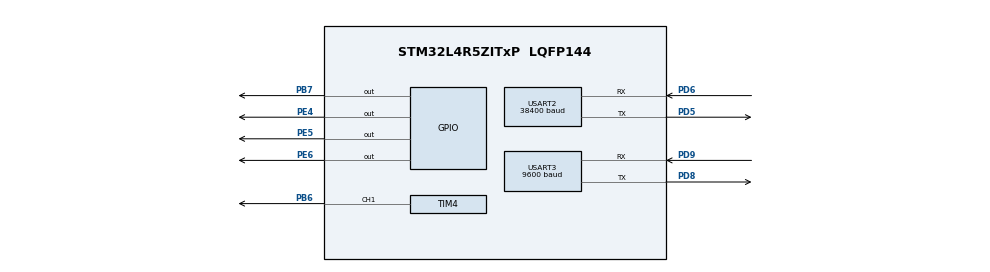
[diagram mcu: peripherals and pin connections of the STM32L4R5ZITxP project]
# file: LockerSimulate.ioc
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Mcu.Family=STM32L4
Mcu.Name=STM32L4R5ZITxP
Mcu.Package=LQFP144
NVIC.PriorityGroup=NVIC_PRIORITYGROUP_4
PA0.Signal=S_TIM2_CH1
PA1.Signal=ADCx_IN6
PA10.Signal=USB_OTG_FS_ID
PA13\ (JTMS/SWDIO).Signal=SYS_JTMS-SWDIO
PA14\ (JTCK/SWCLK).Signal=SYS_JTCK-SWCLK
PA3.Signal=ADCx_IN8
PA4.Signal=SPI1_NSS
PA5.Signal=SPI1_SCK
PA6.Signal=SPI1_MISO
PA7.Signal=SPI1_MOSI
PA8.Signal=USB_OTG_FS_SOF
PA9.Signal=USB_OTG_FS_VBUS
PB0.Signal=S_TIM3_CH3
PB1.Signal=ADCx_IN16
PB10.Signal=S_TIM2_CH3
PB12.Signal=SAI2_FS_A
PB13.Signal=SAI2_SCK_A
PB14.Signal=S_TIM15_CH1
PB15.Signal=SAI2_SD_A
PB2.Signal=COMP1_INP
PB3\ (JTDO/TRACESWO).Signal=SPI3_SCK
PB4\ (NJTRST).Signal=SPI3_MISO
PB5.Signal=SPI3_MOSI
PB6.Signal=S_TIM4_CH1
PB7.Signal=GPIO_Output
PB8.Signal=I2C1_SCL
PB9.Signal=I2C1_SDA
PC0.Signal=ADCx_IN1
PC1.Signal=ADCx_IN2
PC10.Signal=SDMMC1_D2
PC11.Signal=SDMMC1_D3
PC12.Signal=SDMMC1_CK
PC13.Signal=SYS_WKUP2
PC14-OSC32_IN\ (PC14).Signal=RCC_OSC32_IN
PC15-OSC32_OUT\ (PC15).Signal=RCC_OSC32_OUT
PC2.Signal=ADCx_IN3
PC3.Signal=ADCx_IN4
PC4.Signal=ADCx_IN13
PC5.Signal=ADCx_IN14
PC6.Signal=SAI2_MCLK_A
PC7.Signal=S_TIM3_CH2
PC8.Signal=SDMMC1_D0
PC9.Signal=SDMMC1_D1
PD0.Signal=CAN1_RX
PD14.Signal=S_TIM4_CH3
PD15.Signal=S_TIM4_CH4
PD2.Signal=SDMMC1_CMD
PD3.Signal=USART2_CTS
PD4.Signal=USART2_RTS
PD5.Mode=Asynchronous
PD5.Signal=USART2_TX
PD6.Mode=Asynchronous
PD6.Signal=USART2_RX
PD8.Mode=Asynchronous
PD8.Signal=USART3_TX
PD9.Mode=Asynchronous
PD9.Signal=USART3_RX
PE0.Signal=S_TIM4_ETR
PE10.Signal=TIM1_CH2N
PE11.Signal=S_TIM1_CH2
PE12.Signal=TIM1_CH3N
PE13.Signal=S_TIM1_CH3
PE14.Signal=TIM1_BKIN2
PE15.Signal=TIM1_BKIN
PE2.Signal=SAI1_MCLK_A
PE3.Signal=SAI1_SD_B
PE4.Signal=GPIO_Output
PE5.Signal=GPIO_Output
PE6.Signal=GPIO_Output
PE7.Signal=S_TIM1_ETR
PE8.Signal=TIM1_CH1N
PE9.Signal=S_TIM1_CH1
PF0.Signal=I2C2_SDA
PF1.Signal=I2C2_SCL
PF2.Signal=I2C2_SMBA
PF7.Signal=SAI1_MCLK_B
PG7.Signal=LPUART1_TX
PG8.Signal=LPUART1_RX
PH0-OSC_IN\ (PH0).Signal=RCC_OSC_IN
PH1-OSC_OUT\ (PH1).Signal=RCC_OSC_OUT
ProjectManager.HeapSize=0x200
ProjectManager.StackSize=0x400
ProjectManager.TargetToolchain=STM32CubeIDE
RCC.HSE_VALUE=8000000
RCC.HSI48_VALUE=48000000
RCC.HSI_VALUE=16000000
RCC.LSE_VALUE=32768
RCC.MSI_VALUE=4000000
RCC.VCOOutputFreq_Value=32000000
SH.ADCx_IN1.0=ADC1_IN1
SH.ADCx_IN13.0=ADC1_IN13
SH.ADCx_IN14.0=ADC1_IN14
SH.ADCx_IN16.0=ADC1_IN16
SH.ADCx_IN2.0=ADC1_IN2
SH.ADCx_IN3.0=ADC1_IN3
SH.ADCx_IN4.0=ADC1_IN4
SH.ADCx_IN6.0=ADC1_IN6
SH.ADCx_IN8.0=ADC1_IN8
SH.S_TIM15_CH1.0=TIM15_CH1
SH.S_TIM1_CH1.0=TIM1_CH1
SH.S_TIM1_CH2.0=TIM1_CH2
SH.S_TIM1_CH3.0=TIM1_CH3
SH.S_TIM1_ETR.0=TIM1_ETR
SH.S_TIM2_CH1.0=TIM2_CH1
SH.S_TIM2_CH3.0=TIM2_CH3
SH.S_TIM3_CH2.0=TIM3_CH2
SH.S_TIM3_CH3.0=TIM3_CH3
SH.S_TIM4_CH1.0=TIM4_CH1,PWM Generation1 CH1
SH.S_TIM4_CH3.0=TIM4_CH3
SH.S_TIM4_CH4.0=TIM4_CH4
SH.S_TIM4_ETR.0=TIM4_ETR
TIM4.Channel-PWM\ Generation1\ CH1=TIM_CHANNEL_1
TIM4.Period=250
TIM4.Prescaler=3
USART2.BaudRate=38400
USART2.VirtualMode-Asynchronous=VM_ASYNC
USART3.BaudRate=9600
USART3.VirtualMode-Asynchronous=VM_ASYNC
VP_TIM4_VS_ClockSourceINT.Mode=Internal
board=NUCLEO-L4R5ZI-P

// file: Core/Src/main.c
/* USER CODE BEGIN Header */
/**
  ******************************************************************************
  * @file           : main.c
  * @brief          : Main program body
  ******************************************************************************
  * @attention
  *
  * Copyright (c) 2024 STMicroelectronics.
  * All rights reserved.
  *
  * This software is licensed under terms that can be found in the LICENSE file
  * in the root directory of this software component.
  * If no LICENSE file comes with this software, it is provided AS-IS.
  *
  ******************************************************************************
  */
/* USER CODE END Header */
#include "main.h"

/* USER CODE BEGIN Includes */
#include "lockerUART.h"
/* USER CODE END Includes */

TIM_HandleTypeDef htim4;

UART_HandleTypeDef huart2;
UART_HandleTypeDef huart3;

void SystemClock_Config(void);
static void MX_GPIO_Init(void);
static void MX_USART3_UART_Init(void);
static void MX_TIM4_Init(void);
static void MX_USART2_UART_Init(void);

int main(void)
{

  /* MCU Configuration--------------------------------------------------------*/

  /* Reset of all peripherals, Initializes the Flash interface and the Systick. */
  HAL_Init();

  /* Configure the system clock */
  SystemClock_Config();

  /* Initialize all configured peripherals */
  MX_GPIO_Init();
  MX_USART3_UART_Init();
  MX_TIM4_Init();
  MX_USART2_UART_Init();
  /* USER CODE BEGIN 2 */
  uint8_t data_buff[1] = {0};
  uint8_t state = 0; // 0 = LED OFF, 1 = LED ON
  HAL_TIM_PWM_Start(&htim4, TIM_CHANNEL_1);
  /* USER CODE END 2 */

  /* Infinite loop */
  /* USER CODE BEGIN WHILE */
  while (1)
  {
	  HAL_StatusTypeDef receiveStatus = HAL_UART_Receive(&huart3, data_buff, 1, 10000);
	  if(receiveStatus == HAL_OK) {
		  uint8_t message = data_buff[0];
		  if(message == 1){ // Opening
			  if(state == 1) continue;
			  state = 1;
			  HAL_GPIO_WritePin(GPIOE, GPIO_PIN_4, 1); // MOFSET for solenoid ON
			  HAL_GPIO_WritePin(GPIOE, GPIO_PIN_5, 1); // H-Bridge for extend ON
			  HAL_Delay(2450);
			  HAL_GPIO_WritePin(GPIOE, GPIO_PIN_4, 0); // MOFSET for solenoid OFF
			  HAL_GPIO_WritePin(GPIOE, GPIO_PIN_5, 0); // H-Bridge for extend OFF
		  } else if( (message & 0x03) == 0x03) {
			  ping_stream_response(&huart3, &huart2, message);
		  } else if(message > 3) {
			  data_buff[0] = message - 4;
			  HAL_UART_Transmit(&huart2, data_buff, 1, 1000);
		  }
		  if(message == 0){ // Closing
			  if(state == 0) continue;
			  state = 0;
			  HAL_GPIO_WritePin(GPIOE, GPIO_PIN_6, 1); // H-Bridge for retract ON
			  HAL_GPIO_WritePin(GPIOE, GPIO_PIN_4, 1);
			  HAL_Delay(3350);
			  HAL_GPIO_WritePin(GPIOE, GPIO_PIN_6, 0); // H-Bridge for retract ON
			  HAL_GPIO_WritePin(GPIOE, GPIO_PIN_4, 0);
		  }
		  HAL_GPIO_WritePin(GPIOB, GPIO_PIN_7, state); // LED
	  }
    /* USER CODE END WHILE */

  }
}

void SystemClock_Config(void)
{
  RCC_OscInitTypeDef RCC_OscInitStruct = {0};
  RCC_ClkInitTypeDef RCC_ClkInitStruct = {0};

  /** Configure the main internal regulator output voltage
  */
  if (HAL_PWREx_ControlVoltageScaling(PWR_REGULATOR_VOLTAGE_SCALE1) != HAL_OK)
  {
    Error_Handler();
  }

  /** Initializes the RCC Oscillators according to the specified parameters
  * in the RCC_OscInitTypeDef structure.
  */
  RCC_OscInitStruct.OscillatorType = RCC_OSCILLATORTYPE_MSI;
  RCC_OscInitStruct.MSIState = RCC_MSI_ON;
  RCC_OscInitStruct.MSICalibrationValue = 0;
  RCC_OscInitStruct.MSIClockRange = RCC_MSIRANGE_6;
  RCC_OscInitStruct.PLL.PLLState = RCC_PLL_NONE;
  if (HAL_RCC_OscConfig(&RCC_OscInitStruct) != HAL_OK)
  {
    Error_Handler();
  }

  /** Initializes the CPU, AHB and APB buses clocks
  */
  RCC_ClkInitStruct.ClockType = RCC_CLOCKTYPE_HCLK|RCC_CLOCKTYPE_SYSCLK
                              |RCC_CLOCKTYPE_PCLK1|RCC_CLOCKTYPE_PCLK2;
  RCC_ClkInitStruct.SYSCLKSource = RCC_SYSCLKSOURCE_MSI;
  RCC_ClkInitStruct.AHBCLKDivider = RCC_SYSCLK_DIV1;
  RCC_ClkInitStruct.APB1CLKDivider = RCC_HCLK_DIV1;
  RCC_ClkInitStruct.APB2CLKDivider = RCC_HCLK_DIV1;

  if (HAL_RCC_ClockConfig(&RCC_ClkInitStruct, FLASH_LATENCY_0) != HAL_OK)
  {
    Error_Handler();
  }
}

static void MX_TIM4_Init(void)
{

  TIM_ClockConfigTypeDef sClockSourceConfig = {0};
  TIM_MasterConfigTypeDef sMasterConfig = {0};
  TIM_OC_InitTypeDef sConfigOC = {0};

  htim4.Instance = TIM4;
  htim4.Init.Prescaler = 3;
  htim4.Init.CounterMode = TIM_COUNTERMODE_UP;
  htim4.Init.Period = 250;
  htim4.Init.ClockDivision = TIM_CLOCKDIVISION_DIV1;
  htim4.Init.AutoReloadPreload = TIM_AUTORELOAD_PRELOAD_DISABLE;
  if (HAL_TIM_Base_Init(&htim4) != HAL_OK)
  {
    Error_Handler();
  }
  sClockSourceConfig.ClockSource = TIM_CLOCKSOURCE_INTERNAL;
  if (HAL_TIM_ConfigClockSource(&htim4, &sClockSourceConfig) != HAL_OK)
  {
    Error_Handler();
  }
  if (HAL_TIM_PWM_Init(&htim4) != HAL_OK)
  {
    Error_Handler();
  }
  sMasterConfig.MasterOutputTrigger = TIM_TRGO_RESET;
  sMasterConfig.MasterSlaveMode = TIM_MASTERSLAVEMODE_DISABLE;
  if (HAL_TIMEx_MasterConfigSynchronization(&htim4, &sMasterConfig) != HAL_OK)
  {
    Error_Handler();
  }
  sConfigOC.OCMode = TIM_OCMODE_PWM1;
  sConfigOC.Pulse = 0;
  sConfigOC.OCPolarity = TIM_OCPOLARITY_HIGH;
  sConfigOC.OCFastMode = TIM_OCFAST_DISABLE;
  if (HAL_TIM_PWM_ConfigChannel(&htim4, &sConfigOC, TIM_CHANNEL_1) != HAL_OK)
  {
    Error_Handler();
  }
  HAL_TIM_MspPostInit(&htim4);

}

static void MX_USART2_UART_Init(void)
{

  huart2.Instance = USART2;
  huart2.Init.BaudRate = 38400;
  huart2.Init.WordLength = UART_WORDLENGTH_8B;
  huart2.Init.StopBits = UART_STOPBITS_1;
  huart2.Init.Parity = UART_PARITY_NONE;
  huart2.Init.Mode = UART_MODE_TX_RX;
  huart2.Init.HwFlowCtl = UART_HWCONTROL_NONE;
  huart2.Init.OverSampling = UART_OVERSAMPLING_16;
  huart2.Init.OneBitSampling = UART_ONE_BIT_SAMPLE_DISABLE;
  huart2.Init.ClockPrescaler = UART_PRESCALER_DIV1;
  huart2.AdvancedInit.AdvFeatureInit = UART_ADVFEATURE_NO_INIT;
  if (HAL_UART_Init(&huart2) != HAL_OK)
  {
    Error_Handler();
  }
  if (HAL_UARTEx_SetTxFifoThreshold(&huart2, UART_TXFIFO_THRESHOLD_1_8) != HAL_OK)
  {
    Error_Handler();
  }
  if (HAL_UARTEx_SetRxFifoThreshold(&huart2, UART_RXFIFO_THRESHOLD_1_8) != HAL_OK)
  {
    Error_Handler();
  }
  if (HAL_UARTEx_DisableFifoMode(&huart2) != HAL_OK)
  {
    Error_Handler();
  }

}

static void MX_USART3_UART_Init(void)
{

  huart3.Instance = USART3;
  huart3.Init.BaudRate = 9600;
  huart3.Init.WordLength = UART_WORDLENGTH_8B;
  huart3.Init.StopBits = UART_STOPBITS_1;
  huart3.Init.Parity = UART_PARITY_NONE;
  huart3.Init.Mode = UART_MODE_TX_RX;
  huart3.Init.HwFlowCtl = UART_HWCONTROL_NONE;
  huart3.Init.OverSampling = UART_OVERSAMPLING_16;
  huart3.Init.OneBitSampling = UART_ONE_BIT_SAMPLE_DISABLE;
  huart3.Init.ClockPrescaler = UART_PRESCALER_DIV1;
  huart3.AdvancedInit.AdvFeatureInit = UART_ADVFEATURE_NO_INIT;
  if (HAL_UART_Init(&huart3) != HAL_OK)
  {
    Error_Handler();
  }
  if (HAL_UARTEx_SetTxFifoThreshold(&huart3, UART_TXFIFO_THRESHOLD_1_8) != HAL_OK)
  {
    Error_Handler();
  }
  if (HAL_UARTEx_SetRxFifoThreshold(&huart3, UART_RXFIFO_THRESHOLD_1_8) != HAL_OK)
  {
    Error_Handler();
  }
  if (HAL_UARTEx_DisableFifoMode(&huart3) != HAL_OK)
  {
    Error_Handler();
  }

}

static void MX_GPIO_Init(void)
{
  GPIO_InitTypeDef GPIO_InitStruct = {0};

  /* GPIO Ports Clock Enable */
  __HAL_RCC_GPIOE_CLK_ENABLE();
  __HAL_RCC_GPIOC_CLK_ENABLE();
  __HAL_RCC_GPIOF_CLK_ENABLE();
  __HAL_RCC_GPIOH_CLK_ENABLE();
  __HAL_RCC_GPIOA_CLK_ENABLE();
  __HAL_RCC_GPIOB_CLK_ENABLE();
  __HAL_RCC_GPIOD_CLK_ENABLE();
  __HAL_RCC_GPIOG_CLK_ENABLE();
  HAL_PWREx_EnableVddIO2();

  /*Configure GPIO pin Output Level */
  HAL_GPIO_WritePin(GPIOE, GPIO_PIN_4|GPIO_PIN_5|GPIO_PIN_6, GPIO_PIN_RESET);

  /*Configure GPIO pin Output Level */
  HAL_GPIO_WritePin(GPIOB, GPIO_PIN_7, GPIO_PIN_RESET);

  /*Configure GPIO pins : PE2 PE3 */
  GPIO_InitStruct.Pin = GPIO_PIN_2|GPIO_PIN_3;
  GPIO_InitStruct.Mode = GPIO_MODE_AF_PP;
  GPIO_InitStruct.Pull = GPIO_NOPULL;
  GPIO_InitStruct.Speed = GPIO_SPEED_FREQ_LOW;
  GPIO_InitStruct.Alternate = GPIO_AF13_SAI1;
  HAL_GPIO_Init(GPIOE, &GPIO_InitStruct);

  /*Configure GPIO pins : PE4 PE5 PE6 */
  GPIO_InitStruct.Pin = GPIO_PIN_4|GPIO_PIN_5|GPIO_PIN_6;
  GPIO_InitStruct.Mode = GPIO_MODE_OUTPUT_PP;
  GPIO_InitStruct.Pull = GPIO_NOPULL;
  GPIO_InitStruct.Speed = GPIO_SPEED_FREQ_LOW;
  HAL_GPIO_Init(GPIOE, &GPIO_InitStruct);

  /*Configure GPIO pins : PF0 PF1 PF2 */
  GPIO_InitStruct.Pin = GPIO_PIN_0|GPIO_PIN_1|GPIO_PIN_2;
  GPIO_InitStruct.Mode = GPIO_MODE_AF_OD;
  GPIO_InitStruct.Pull = GPIO_NOPULL;
  GPIO_InitStruct.Speed = GPIO_SPEED_FREQ_VERY_HIGH;
  GPIO_InitStruct.Alternate = GPIO_AF4_I2C2;
  HAL_GPIO_Init(GPIOF, &GPIO_InitStruct);

  /*Configure GPIO pin : PF7 */
  GPIO_InitStruct.Pin = GPIO_PIN_7;
  GPIO_InitStruct.Mode = GPIO_MODE_AF_PP;
  GPIO_InitStruct.Pull = GPIO_NOPULL;
  GPIO_InitStruct.Speed = GPIO_SPEED_FREQ_LOW;
  GPIO_InitStruct.Alternate = GPIO_AF13_SAI1;
  HAL_GPIO_Init(GPIOF, &GPIO_InitStruct);

  /*Configure GPIO pins : PC0 PC1 PC2 PC3
                           PC4 PC5 */
  GPIO_InitStruct.Pin = GPIO_PIN_0|GPIO_PIN_1|GPIO_PIN_2|GPIO_PIN_3
                          |GPIO_PIN_4|GPIO_PIN_5;
  GPIO_InitStruct.Mode = GPIO_MODE_ANALOG_ADC_CONTROL;
  GPIO_InitStruct.Pull = GPIO_NOPULL;
  HAL_GPIO_Init(GPIOC, &GPIO_InitStruct);

  /*Configure GPIO pin : PA0 */
  GPIO_InitStruct.Pin = GPIO_PIN_0;
  GPIO_InitStruct.Mode = GPIO_MODE_AF_PP;
  GPIO_InitStruct.Pull = GPIO_NOPULL;
  GPIO_InitStruct.Speed = GPIO_SPEED_FREQ_LOW;
  GPIO_InitStruct.Alternate = GPIO_AF1_TIM2;
  HAL_GPIO_Init(GPIOA, &GPIO_InitStruct);

  /*Configure GPIO pins : PA1 PA3 */
  GPIO_InitStruct.Pin = GPIO_PIN_1|GPIO_PIN_3;
  GPIO_InitStruct.Mode = GPIO_MODE_ANALOG_ADC_CONTROL;
  GPIO_InitStruct.Pull = GPIO_NOPULL;
  HAL_GPIO_Init(GPIOA, &GPIO_InitStruct);

  /*Configure GPIO pins : PA4 PA5 PA6 PA7 */
  GPIO_InitStruct.Pin = GPIO_PIN_4|GPIO_PIN_5|GPIO_PIN_6|GPIO_PIN_7;
  GPIO_InitStruct.Mode = GPIO_MODE_AF_PP;
  GPIO_InitStruct.Pull = GPIO_NOPULL;
  GPIO_InitStruct.Speed = GPIO_SPEED_FREQ_VERY_HIGH;
  GPIO_InitStruct.Alternate = GPIO_AF5_SPI1;
  HAL_GPIO_Init(GPIOA, &GPIO_InitStruct);

  /*Configure GPIO pin : PB0 */
  GPIO_InitStruct.Pin = GPIO_PIN_0;
  GPIO_InitStruct.Mode = GPIO_MODE_AF_PP;
  GPIO_InitStruct.Pull = GPIO_NOPULL;
  GPIO_InitStruct.Speed = GPIO_SPEED_FREQ_LOW;
  GPIO_InitStruct.Alternate = GPIO_AF2_TIM3;
  HAL_GPIO_Init(GPIOB, &GPIO_InitStruct);

  /*Configure GPIO pin : PB1 */
  GPIO_InitStruct.Pin = GPIO_PIN_1;
  GPIO_InitStruct.Mode = GPIO_MODE_ANALOG_ADC_CONTROL;
  GPIO_InitStruct.Pull = GPIO_NOPULL;
  HAL_GPIO_Init(GPIOB, &GPIO_InitStruct);

  /*Configure GPIO pin : PB2 */
  GPIO_InitStruct.Pin = GPIO_PIN_2;
  GPIO_InitStruct.Mode = GPIO_MODE_ANALOG;
  GPIO_InitStruct.Pull = GPIO_NOPULL;
  HAL_GPIO_Init(GPIOB, &GPIO_InitStruct);

  /*Configure GPIO pins : PE7 PE8 PE9 PE10
                           PE11 PE12 PE13 */
  GPIO_InitStruct.Pin = GPIO_PIN_7|GPIO_PIN_8|GPIO_PIN_9|GPIO_PIN_10
                          |GPIO_PIN_11|GPIO_PIN_12|GPIO_PIN_13;
  GPIO_InitStruct.Mode = GPIO_MODE_AF_PP;
  GPIO_InitStruct.Pull = GPIO_NOPULL;
  GPIO_InitStruct.Speed = GPIO_SPEED_FREQ_LOW;
  GPIO_InitStruct.Alternate = GPIO_AF1_TIM1;
  HAL_GPIO_Init(GPIOE, &GPIO_InitStruct);

  /*Configure GPIO pins : PE14 PE15 */
  GPIO_InitStruct.Pin = GPIO_PIN_14|GPIO_PIN_15;
  GPIO_InitStruct.Mode = GPIO_MODE_AF_PP;
  GPIO_InitStruct.Pull = GPIO_NOPULL;
  GPIO_InitStruct.Speed = GPIO_SPEED_FREQ_LOW;
  GPIO_InitStruct.Alternate = GPIO_AF3_TIM1_COMP1;
  HAL_GPIO_Init(GPIOE, &GPIO_InitStruct);

  /*Configure GPIO pin : PB10 */
  GPIO_InitStruct.Pin = GPIO_PIN_10;
  GPIO_InitStruct.Mode = GPIO_MODE_AF_PP;
  GPIO_InitStruct.Pull = GPIO_NOPULL;
  GPIO_InitStruct.Speed = GPIO_SPEED_FREQ_LOW;
  GPIO_InitStruct.Alternate = GPIO_AF1_TIM2;
  HAL_GPIO_Init(GPIOB, &GPIO_InitStruct);

  /*Configure GPIO pins : PB12 PB13 PB15 */
  GPIO_InitStruct.Pin = GPIO_PIN_12|GPIO_PIN_13|GPIO_PIN_15;
  GPIO_InitStruct.Mode = GPIO_MODE_AF_PP;
  GPIO_InitStruct.Pull = GPIO_NOPULL;
  GPIO_InitStruct.Speed = GPIO_SPEED_FREQ_LOW;
  GPIO_InitStruct.Alternate = GPIO_AF13_SAI2;
  HAL_GPIO_Init(GPIOB, &GPIO_InitStruct);

  /*Configure GPIO pin : PB14 */
  GPIO_InitStruct.Pin = GPIO_PIN_14;
  GPIO_InitStruct.Mode = GPIO_MODE_AF_PP;
  GPIO_InitStruct.Pull = GPIO_NOPULL;
  GPIO_InitStruct.Speed = GPIO_SPEED_FREQ_LOW;
  GPIO_InitStruct.Alternate = GPIO_AF14_TIM15;
  HAL_GPIO_Init(GPIOB, &GPIO_InitStruct);

  /*Configure GPIO pins : PG7 PG8 */
  GPIO_InitStruct.Pin = GPIO_PIN_7|GPIO_PIN_8;
  GPIO_InitStruct.Mode = GPIO_MODE_AF_PP;
  GPIO_InitStruct.Pull = GPIO_NOPULL;
  GPIO_InitStruct.Speed = GPIO_SPEED_FREQ_VERY_HIGH;
  GPIO_InitStruct.Alternate = GPIO_AF8_LPUART1;
  HAL_GPIO_Init(GPIOG, &GPIO_InitStruct);

  /*Configure GPIO pin : PC6 */
  GPIO_InitStruct.Pin = GPIO_PIN_6;
  GPIO_InitStruct.Mode = GPIO_MODE_AF_PP;
  GPIO_InitStruct.Pull = GPIO_NOPULL;
  GPIO_InitStruct.Speed = GPIO_SPEED_FREQ_LOW;
  GPIO_InitStruct.Alternate = GPIO_AF13_SAI2;
  HAL_GPIO_Init(GPIOC, &GPIO_InitStruct);

  /*Configure GPIO pin : PC7 */
  GPIO_InitStruct.Pin = GPIO_PIN_7;
  GPIO_InitStruct.Mode = GPIO_MODE_AF_PP;
  GPIO_InitStruct.Pull = GPIO_NOPULL;
  GPIO_InitStruct.Speed = GPIO_SPEED_FREQ_LOW;
  GPIO_InitStruct.Alternate = GPIO_AF2_TIM3;
  HAL_GPIO_Init(GPIOC, &GPIO_InitStruct);

  /*Configure GPIO pins : PC8 PC9 PC10 PC11
                           PC12 */
  GPIO_InitStruct.Pin = GPIO_PIN_8|GPIO_PIN_9|GPIO_PIN_10|GPIO_PIN_11
                          |GPIO_PIN_12;
  GPIO_InitStruct.Mode = GPIO_MODE_AF_PP;
  GPIO_InitStruct.Pull = GPIO_NOPULL;
  GPIO_InitStruct.Speed = GPIO_SPEED_FREQ_VERY_HIGH;
  GPIO_InitStruct.Alternate = GPIO_AF12_SDMMC1;
  HAL_GPIO_Init(GPIOC, &GPIO_InitStruct);

  /*Configure GPIO pins : PA8 PA10 */
  GPIO_InitStruct.Pin = GPIO_PIN_8|GPIO_PIN_10;
  GPIO_InitStruct.Mode = GPIO_MODE_AF_PP;
  GPIO_InitStruct.Pull = GPIO_NOPULL;
  GPIO_InitStruct.Speed = GPIO_SPEED_FREQ_VERY_HIGH;
  GPIO_InitStruct.Alternate = GPIO_AF10_OTG_FS;
  HAL_GPIO_Init(GPIOA, &GPIO_InitStruct);

  /*Configure GPIO pin : PA9 */
  GPIO_InitStruct.Pin = GPIO_PIN_9;
  GPIO_InitStruct.Mode = GPIO_MODE_INPUT;
  GPIO_InitStruct.Pull = GPIO_NOPULL;
  HAL_GPIO_Init(GPIOA, &GPIO_InitStruct);

  /*Configure GPIO pin : PD0 */
  GPIO_InitStruct.Pin = GPIO_PIN_0;
  GPIO_InitStruct.Mode = GPIO_MODE_AF_PP;
  GPIO_InitStruct.Pull = GPIO_NOPULL;
  GPIO_InitStruct.Speed = GPIO_SPEED_FREQ_VERY_HIGH;
  GPIO_InitStruct.Alternate = GPIO_AF9_CAN1;
  HAL_GPIO_Init(GPIOD, &GPIO_InitStruct);

  /*Configure GPIO pin : PD2 */
  GPIO_InitStruct.Pin = GPIO_PIN_2;
  GPIO_InitStruct.Mode = GPIO_MODE_AF_PP;
  GPIO_InitStruct.Pull = GPIO_NOPULL;
  GPIO_InitStruct.Speed = GPIO_SPEED_FREQ_VERY_HIGH;
  GPIO_InitStruct.Alternate = GPIO_AF12_SDMMC1;
  HAL_GPIO_Init(GPIOD, &GPIO_InitStruct);

  /*Configure GPIO pins : PB3 PB4 PB5 */
  GPIO_InitStruct.Pin = GPIO_PIN_3|GPIO_PIN_4|GPIO_PIN_5;
  GPIO_InitStruct.Mode = GPIO_MODE_AF_PP;
  GPIO_InitStruct.Pull = GPIO_NOPULL;
  GPIO_InitStruct.Speed = GPIO_SPEED_FREQ_VERY_HIGH;
  GPIO_InitStruct.Alternate = GPIO_AF6_SPI3;
  HAL_GPIO_Init(GPIOB, &GPIO_InitStruct);

  /*Configure GPIO pin : PB7 */
  GPIO_InitStruct.Pin = GPIO_PIN_7;
  GPIO_InitStruct.Mode = GPIO_MODE_OUTPUT_PP;
  GPIO_InitStruct.Pull = GPIO_NOPULL;
  GPIO_InitStruct.Speed = GPIO_SPEED_FREQ_LOW;
  HAL_GPIO_Init(GPIOB, &GPIO_InitStruct);

  /*Configure GPIO pins : PB8 PB9 */
  GPIO_InitStruct.Pin = GPIO_PIN_8|GPIO_PIN_9;
  GPIO_InitStruct.Mode = GPIO_MODE_AF_OD;
  GPIO_InitStruct.Pull = GPIO_NOPULL;
  GPIO_InitStruct.Speed = GPIO_SPEED_FREQ_VERY_HIGH;
  GPIO_InitStruct.Alternate = GPIO_AF4_I2C1;
  HAL_GPIO_Init(GPIOB, &GPIO_InitStruct);

}

void Error_Handler(void)
{
  __disable_irq();
  while (1)
  {
  }
}
